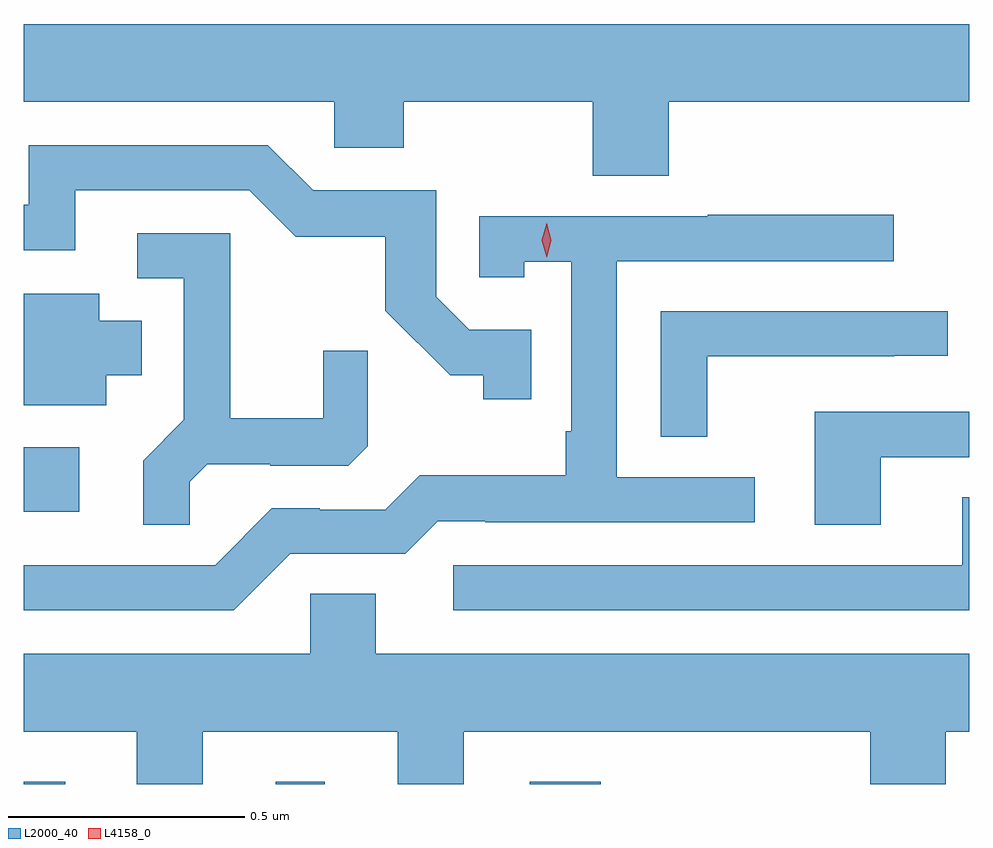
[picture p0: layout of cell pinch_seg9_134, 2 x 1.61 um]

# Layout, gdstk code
import gdstk
lib = gdstk.Library(unit=1e-6, precision=1e-09)
def R(c, l, rs):  # rectangles x0, y0, x1, y1
    for r in rs: c.add(gdstk.rectangle(r[:2], r[2:], *l))
def P(c, l, *ps):  # polygons
    for p in ps: c.add(gdstk.Polygon(p, *l))
L2000_40 = (2000, 40)
L4158_0 = (4158, 0)

pinch_seg9_134 = lib.new_cell('pinch_seg9_134')
R(pinch_seg9_134, L2000_40, [(792.276,1241.597,792.364,1241.602), (792.809,1241.597,792.913,1241.602), (793.346,1241.597,793.496,1241.602), (792.276,1242.173,792.394,1242.309)])
P(pinch_seg9_134, L2000_40, [(793.64,1243.04),(794.276,1243.04),(794.276,1243.204),(792.276,1243.204),(792.276,1243.04),(792.933,1243.04),(792.933,1242.942),(793.08,1242.942),(793.08,1243.04),(793.48,1243.04),(793.48,1242.883),(793.64,1242.883)],
  [(793.349,1242.558),(793.218,1242.558),(793.149,1242.627),(793.149,1242.852),(792.888,1242.852),(792.792,1242.948),(792.287,1242.948),(792.287,1242.822),(792.276,1242.822),(792.276,1242.726),(792.385,1242.726),(792.385,1242.852),(792.753,1242.852),(792.852,1242.754),(793.041,1242.754),(793.041,1242.598),(793.178,1242.461),(793.248,1242.461),(793.248,1242.411),(793.349,1242.411)],
  [(792.84,1242.084),(793.083,1242.084),(793.152,1242.153),(793.252,1242.153),(793.252,1242.15),(793.822,1242.15),(793.822,1242.246),(793.53,1242.246),(793.53,1242.702),(794.116,1242.702),(794.116,1242.801),(793.723,1242.801),(793.723,1242.798),(793.239,1242.798),(793.239,1242.669),(793.335,1242.669),(793.335,1242.701),(793.434,1242.701),(793.434,1242.343),(793.422,1242.343),(793.422,1242.25),(793.114,1242.25),(793.041,1242.177),(792.902,1242.177),(792.902,1242.18),(792.801,1242.18),(792.681,1242.06),(792.276,1242.06),(792.276,1241.964),(792.72,1241.964)],
  [(792.627,1242.236),(792.664,1242.273),(792.798,1242.273),(792.798,1242.27),(792.963,1242.27),(793.004,1242.311),(793.004,1242.513),(792.91,1242.513),(792.91,1242.37),(792.713,1242.37),(792.713,1242.762),(792.516,1242.762),(792.516,1242.666),(792.615,1242.666),(792.615,1242.367),(792.529,1242.281),(792.529,1242.145),(792.627,1242.145)],
  [(792.451,1242.461),(792.526,1242.461),(792.526,1242.577),(792.436,1242.577),(792.436,1242.634),(792.276,1242.634),(792.276,1242.398),(792.451,1242.398)],
  [(793.722,1242.501),(794.117,1242.501),(794.117,1242.502),(794.23,1242.502),(794.23,1242.597),(793.623,1242.597),(793.623,1242.331),(793.722,1242.331)],
  [(794.089,1242.288),(794.276,1242.288),(794.276,1242.384),(793.949,1242.384),(793.949,1242.145),(794.089,1242.145)],
  [(794.276,1242.203),(794.261,1242.203),(794.261,1242.06),(793.185,1242.06),(793.185,1241.964),(794.276,1241.964)],
  [(792.655,1241.708),(793.067,1241.708),(793.067,1241.597),(793.207,1241.597),(793.207,1241.708),(794.066,1241.708),(794.066,1241.597),(794.226,1241.597),(794.226,1241.708),(794.276,1241.708),(794.276,1241.872),(793.021,1241.872),(793.021,1241.999),(792.882,1241.999),(792.882,1241.872),(792.276,1241.872),(792.276,1241.708),(792.515,1241.708),(792.515,1241.597),(792.655,1241.597)])
P(pinch_seg9_134, L4158_0, [(793.382,1242.711),(793.382,1242.711),(793.372,1242.747),(793.382,1242.783),(793.382,1242.783),(793.382,1242.783),(793.392,1242.747),(793.382,1242.711)])

lib.write_gds('pinch_seg9_134.gds')
